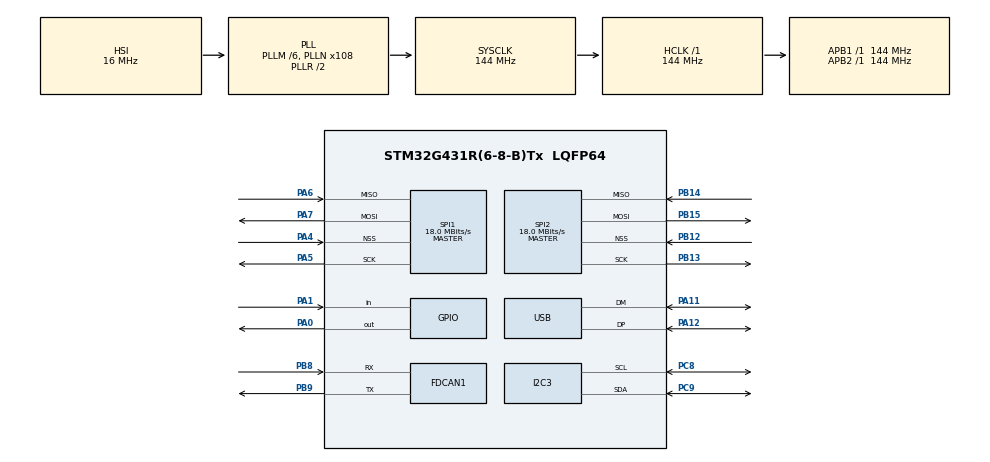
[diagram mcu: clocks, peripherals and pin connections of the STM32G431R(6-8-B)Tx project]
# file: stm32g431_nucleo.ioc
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FDCAN1.CalculateBaudRateNominal=2999999
FDCAN1.CalculateTimeBitNominal=333
FDCAN1.CalculateTimeQuantumNominal=111.11111111111111
FREERTOS.Tasks01=Task00_1ms,24,128,StartTast00,Default,NULL,Dynamic,NULL,NULL;Task01_10ms,24,128,StartTask01,Default,NULL,Dynamic,NULL,NULL;Task02_100ms,24,128,StartTask02,Default,NULL,Dynamic,NULL,NULL;Task03_1000ms,24,128,StartTask03,Default,NULL,Dynamic,NULL,NULL
FREERTOS.configUSE_NEWLIB_REENTRANT=1
I2C3.Timing=0x60715075
Mcu.Family=STM32G4
Mcu.Name=STM32G431R(6-8-B)Tx
Mcu.Package=LQFP64
NUCLEO-G431RB.BUTTON=2
NUCLEO-G431RB.Bsp_Common_DEMO=true
NUCLEO-G431RB.LD1=false
NUCLEO-G431RB.VCP=true
NVIC.PriorityGroup=NVIC_PRIORITYGROUP_4
NVIC.TIM6_DAC_IRQn=true\:15\:0\:false\:false\:true\:false\:false\:true\:true
NVIC.TimeBase=TIM6_DAC_IRQn
NVIC.TimeBaseIP=TIM6
NVIC.USB_LP_IRQn=true\:5\:0\:false\:false\:true\:true\:false\:true\:true
PA0.Signal=GPIO_Output
PA1.Signal=GPIO_Input
PA11.Mode=Device
PA11.Signal=USB_DM
PA12.Mode=Device
PA12.Signal=USB_DP
PA13.GPIO_Label=T_SWDIO
PA13.Mode=Serial_Wire
PA13.Signal=SYS_JTMS-SWDIO
PA14.GPIO_Label=T_SWCLK
PA14.Mode=Serial_Wire
PA14.Signal=SYS_JTCK-SWCLK
PA4.Mode=NSS_Signal_Hard_Input
PA4.Signal=SPI1_NSS
PA5.Mode=Full_Duplex_Master
PA5.Signal=SPI1_SCK
PA6.Mode=Full_Duplex_Master
PA6.Signal=SPI1_MISO
PA7.Mode=Full_Duplex_Master
PA7.Signal=SPI1_MOSI
PB12.Mode=NSS_Signal_Hard_Input
PB12.Signal=SPI2_NSS
PB13.Mode=Full_Duplex_Master
PB13.Signal=SPI2_SCK
PB14.Mode=Full_Duplex_Master
PB14.Signal=SPI2_MISO
PB15.Mode=Full_Duplex_Master
PB15.Signal=SPI2_MOSI
PB3.GPIO_Label=T_SWO
PB3.Signal=SYS_JTDO-SWO
PB8-BOOT0.Mode=FDCAN_Activate
PB8-BOOT0.Signal=FDCAN1_RX
PB9.Mode=FDCAN_Activate
PB9.Signal=FDCAN1_TX
PC14-OSC32_IN.GPIO_Label=RCC_OSC32_OUT
PC14-OSC32_IN.Mode=LSE-External-Oscillator
PC14-OSC32_IN.Signal=RCC_OSC32_IN
PC15-OSC32_OUT.GPIO_Label=RCC_OSC32_OUT
PC15-OSC32_OUT.Mode=LSE-External-Oscillator
PC15-OSC32_OUT.Signal=RCC_OSC32_OUT
PC8.Mode=I2C
PC8.Signal=I2C3_SCL
PC9.Mode=I2C
PC9.Signal=I2C3_SDA
PF0-OSC_IN.GPIO_Label=RCC_OSC_IN
PF0-OSC_IN.Mode=HSE-External-Oscillator
PF0-OSC_IN.Signal=RCC_OSC_IN
PF1-OSC_OUT.GPIO_Label=RCC_OSC_OUT
PF1-OSC_OUT.Mode=HSE-External-Oscillator
PF1-OSC_OUT.Signal=RCC_OSC_OUT
ProjectManager.HeapSize=0x200
ProjectManager.StackSize=0x400
ProjectManager.TargetToolchain=STM32CubeIDE
RCC.ADC12Freq_Value=144000000
RCC.AHBFreq_Value=144000000
RCC.APB1Freq_Value=144000000
RCC.APB1TimFreq_Value=144000000
RCC.APB2Freq_Value=144000000
RCC.APB2TimFreq_Value=144000000
RCC.CortexFreq_Value=144000000
RCC.EXTERNAL_CLOCK_VALUE=12288000
RCC.HCLKFreq_Value=144000000
RCC.HSE_VALUE=24000000
RCC.HSI48_VALUE=48000000
RCC.HSI_VALUE=16000000
RCC.PLLM=RCC_PLLM_DIV6
RCC.PLLN=108
RCC.PLLQ=RCC_PLLQ_DIV6
RCC.RTCClockSelection=RCC_RTCCLKSOURCE_LSE
RCC.SYSCLKFreq_VALUE=144000000
RCC.SYSCLKSource=RCC_SYSCLKSOURCE_PLLCLK
RCC.USBFreq_Value=48000000
RCC.VCOOutputFreq_Value=288000000
SPI1.BaudRatePrescaler=SPI_BAUDRATEPRESCALER_8
SPI1.CalculateBaudRate=18.0 MBits/s
SPI1.DataSize=SPI_DATASIZE_8BIT
SPI1.Direction=SPI_DIRECTION_2LINES
SPI1.Mode=SPI_MODE_MASTER
SPI1.VirtualNSS=VM_NSSHARD
SPI1.VirtualType=VM_MASTER
SPI2.BaudRatePrescaler=SPI_BAUDRATEPRESCALER_8
SPI2.CalculateBaudRate=18.0 MBits/s
SPI2.DataSize=SPI_DATASIZE_8BIT
SPI2.Direction=SPI_DIRECTION_2LINES
SPI2.Mode=SPI_MODE_MASTER
SPI2.VirtualNSS=VM_NSSHARD
SPI2.VirtualType=VM_MASTER
USB_DEVICE.CLASS_NAME_FS=DFU
USB_DEVICE.VirtualMode=Dfu
USB_DEVICE.VirtualModeFS=Dfu_FS
VP_FREERTOS_VS_CMSIS_V2.Mode=CMSIS_V2
VP_SYS_VS_DBSignals.Mode=DisableDeadBatterySignals
VP_SYS_VS_tim6.Mode=TIM6
VP_USB_DEVICE_VS_USB_DEVICE_DFU_FS.Mode=DFU_FS
board=NUCLEO-G431RB

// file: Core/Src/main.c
/* USER CODE BEGIN Header */
/**
  ******************************************************************************
  * @file           : main.c
  * @brief          : Main program body
  ******************************************************************************
  * @attention
  *
  * Copyright (c) 2025 STMicroelectronics.
  * All rights reserved.
  *
  * This software is licensed under terms that can be found in the LICENSE file
  * in the root directory of this software component.
  * If no LICENSE file comes with this software, it is provided AS-IS.
  *
  ******************************************************************************
  */
/* USER CODE END Header */
#include "main.h"
#include "cmsis_os.h"
#include "fdcan.h"
#include "i2c.h"
#include "spi.h"
#include "usb_device.h"
#include "gpio.h"

/* USER CODE BEGIN PV */
uint32_t count = 0;

/* USER CODE END PV */

void SystemClock_Config(void);
void MX_FREERTOS_Init(void);

int main(void)
{

  /* USER CODE BEGIN 1 */
  count++; //count = 1
  /* USER CODE END 1 */

  /* MCU Configuration--------------------------------------------------------*/

  /* Reset of all peripherals, Initializes the Flash interface and the Systick. */
  HAL_Init();

  /* USER CODE BEGIN Init */
  count++; //count = 2
  /* USER CODE END Init */

  /* Configure the system clock */
  SystemClock_Config();

  /* USER CODE BEGIN SysInit */
  count++; //count = 2
  /* USER CODE END SysInit */

  /* Initialize all configured peripherals */
  MX_GPIO_Init();
  MX_FDCAN1_Init();
  MX_I2C3_Init();
  MX_SPI1_Init();
  MX_SPI2_Init();
  /* USER CODE BEGIN 2 */
  count++; //count = 3
  /* USER CODE END 2 */

  /* Init scheduler */
  osKernelInitialize();

  /* Call init function for freertos objects (in cmsis_os2.c) */
  MX_FREERTOS_Init();

  /* Start scheduler */
  osKernelStart();

  /* We should never get here as control is now taken by the scheduler */

  /* Infinite loop */
  /* USER CODE BEGIN WHILE */
  while (1)
  {
	count++; //count = 6

    /* USER CODE END WHILE */

  }
}

void SystemClock_Config(void)
{
  RCC_OscInitTypeDef RCC_OscInitStruct = {0};
  RCC_ClkInitTypeDef RCC_ClkInitStruct = {0};

  /** Configure the main internal regulator output voltage
  */
  HAL_PWREx_ControlVoltageScaling(PWR_REGULATOR_VOLTAGE_SCALE1);

  /** Initializes the RCC Oscillators according to the specified parameters
  * in the RCC_OscInitTypeDef structure.
  */
  RCC_OscInitStruct.OscillatorType = RCC_OSCILLATORTYPE_HSI;
  RCC_OscInitStruct.HSIState = RCC_HSI_ON;
  RCC_OscInitStruct.HSICalibrationValue = RCC_HSICALIBRATION_DEFAULT;
  RCC_OscInitStruct.PLL.PLLState = RCC_PLL_ON;
  RCC_OscInitStruct.PLL.PLLSource = RCC_PLLSOURCE_HSI;
  RCC_OscInitStruct.PLL.PLLM = RCC_PLLM_DIV6;
  RCC_OscInitStruct.PLL.PLLN = 108;
  RCC_OscInitStruct.PLL.PLLP = RCC_PLLP_DIV2;
  RCC_OscInitStruct.PLL.PLLQ = RCC_PLLQ_DIV6;
  RCC_OscInitStruct.PLL.PLLR = RCC_PLLR_DIV2;
  if (HAL_RCC_OscConfig(&RCC_OscInitStruct) != HAL_OK)
  {
    Error_Handler();
  }

  /** Initializes the CPU, AHB and APB buses clocks
  */
  RCC_ClkInitStruct.ClockType = RCC_CLOCKTYPE_HCLK|RCC_CLOCKTYPE_SYSCLK
                              |RCC_CLOCKTYPE_PCLK1|RCC_CLOCKTYPE_PCLK2;
  RCC_ClkInitStruct.SYSCLKSource = RCC_SYSCLKSOURCE_PLLCLK;
  RCC_ClkInitStruct.AHBCLKDivider = RCC_SYSCLK_DIV1;
  RCC_ClkInitStruct.APB1CLKDivider = RCC_HCLK_DIV1;
  RCC_ClkInitStruct.APB2CLKDivider = RCC_HCLK_DIV1;

  if (HAL_RCC_ClockConfig(&RCC_ClkInitStruct, FLASH_LATENCY_4) != HAL_OK)
  {
    Error_Handler();
  }
}

void HAL_TIM_PeriodElapsedCallback(TIM_HandleTypeDef *htim)
{
  if (htim->Instance == TIM6)
  {
    HAL_IncTick();
  }
}

void Error_Handler(void)
{
  __disable_irq();
  while (1)
  {
  }
}

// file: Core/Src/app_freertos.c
/* USER CODE BEGIN Header */
/**
  ******************************************************************************
  * File Name          : app_freertos.c
  * Description        : Code for freertos applications
  ******************************************************************************
  * @attention
  *
  * Copyright (c) 2025 STMicroelectronics.
  * All rights reserved.
  *
  * This software is licensed under terms that can be found in the LICENSE file
  * in the root directory of this software component.
  * If no LICENSE file comes with this software, it is provided AS-IS.
  *
  ******************************************************************************
  */
/* USER CODE END Header */

#include "FreeRTOS.h"
#include "task.h"
#include "main.h"
#include "cmsis_os.h"

#include "usb_device.h"

/* USER CODE BEGIN Variables */
uint32_t task00 = 0;
uint32_t task01 = 0;
uint32_t task02 = 0;
uint32_t task03 = 0;

/* USER CODE END Variables */
/* Definitions for Task00_1ms */
osThreadId_t Task00_1msHandle;
const osThreadAttr_t Task00_1ms_attributes = {
  .name = "Task00_1ms",
  .priority = (osPriority_t) osPriorityNormal,
  .stack_size = 128 * 4
};
/* Definitions for Task01_10ms */
osThreadId_t Task01_10msHandle;
const osThreadAttr_t Task01_10ms_attributes = {
  .name = "Task01_10ms",
  .priority = (osPriority_t) osPriorityNormal,
  .stack_size = 128 * 4
};
/* Definitions for Task02_100ms */
osThreadId_t Task02_100msHandle;
const osThreadAttr_t Task02_100ms_attributes = {
  .name = "Task02_100ms",
  .priority = (osPriority_t) osPriorityNormal,
  .stack_size = 128 * 4
};
/* Definitions for Task03_1000ms */
osThreadId_t Task03_1000msHandle;
const osThreadAttr_t Task03_1000ms_attributes = {
  .name = "Task03_1000ms",
  .priority = (osPriority_t) osPriorityNormal,
  .stack_size = 128 * 4
};

void StartTast00(void *argument);
void StartTask01(void *argument);
void StartTask02(void *argument);
void StartTask03(void *argument);

void MX_FREERTOS_Init(void); /* (MISRA C 2004 rule 8.1) */

void MX_FREERTOS_Init(void) {

  /* Create the thread(s) */
  /* creation of Task00_1ms */
  Task00_1msHandle = osThreadNew(StartTast00, NULL, &Task00_1ms_attributes);

  /* creation of Task01_10ms */
  Task01_10msHandle = osThreadNew(StartTask01, NULL, &Task01_10ms_attributes);

  /* creation of Task02_100ms */
  Task02_100msHandle = osThreadNew(StartTask02, NULL, &Task02_100ms_attributes);

  /* creation of Task03_1000ms */
  Task03_1000msHandle = osThreadNew(StartTask03, NULL, &Task03_1000ms_attributes);

}

void StartTast00(void *argument)
{
  /* init code for USB_Device */
  MX_USB_Device_Init();
  /* USER CODE BEGIN StartTast00 */
  /* Infinite loop */
  for(;;)
  {
	task00++;
    osDelay(1);
  }
  /* USER CODE END StartTast00 */
}

void StartTask01(void *argument)
{
  /* USER CODE BEGIN StartTask01 */
  /* Infinite loop */
  for(;;)
  {
	task01++;
    osDelay(10);
  }
  /* USER CODE END StartTask01 */
}

void StartTask02(void *argument)
{
  /* USER CODE BEGIN StartTask02 */
  /* Infinite loop */
  for(;;)
  {
	task02++;
	//HAL_GPIO_TogglePin(GPIOA, GPIO_PIN_5);
    osDelay(100);
  }
  /* USER CODE END StartTask02 */
}

void StartTask03(void *argument)
{
  /* USER CODE BEGIN StartTask03 */
  /* Infinite loop */
  for(;;)
  {
	task03++;
	printf("Task03: %lu\n", (unsigned long)task03);

	HAL_GPIO_TogglePin(GPIOA, GPIO_PIN_5);

    osDelay(1000);
  }
  /* USER CODE END StartTask03 */
}
